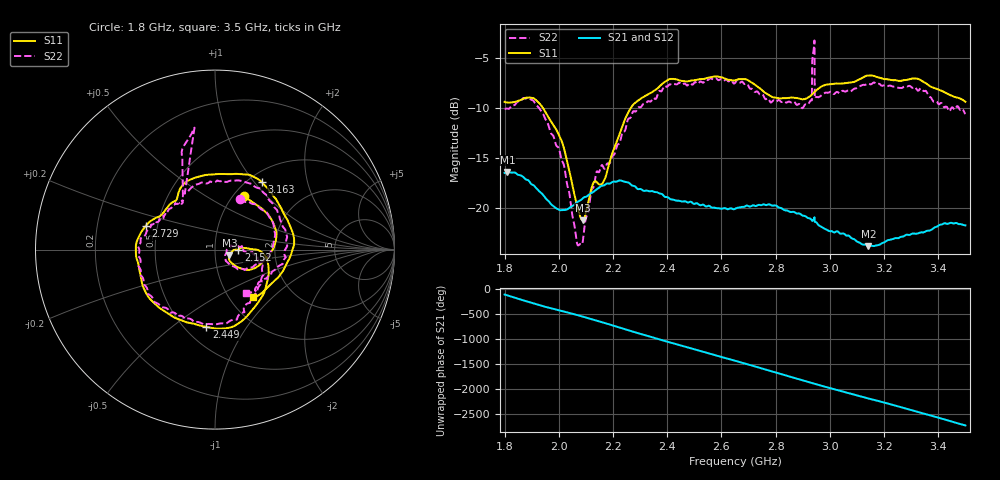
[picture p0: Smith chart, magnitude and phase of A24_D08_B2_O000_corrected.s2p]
! Created with skrf 1.9.0 (http://scikit-rf.org).
# Hz S RI R 50.0
!freq ReS11 ImS11 ReS21 ImS21 ReS12 ImS12 ReS22 ImS22
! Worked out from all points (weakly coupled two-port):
!   1601 points, 1.8 GHz to 3.5 GHz, reference 50 ohm
!   highest |S21| = -16.43 dB at 1.811 GHz (marker M1); lowest = -23.9 dB at 3.142 GHz (marker M2)
!   lowest |S11| = -21.3 dB at 2.089 GHz (marker M3), VSWR 1.19, Z = 58.7 - j3.61 ohm
!   |S11| at or under -10 dB: 1.942 GHz to 2.266 GHz (324 MHz wide, 15.4 % of centre)
!   |S22| runs from -23.8 to -3.2 dB; largest |S21 - S12| = 0.0029
!   S11 on the Smith chart (normalised r, x): 1.8 GHz: 1.12, +0.75; 2.152 GHz: 1.30, -0.00; 2.449 GHz: 0.63, -0.67; 2.729 GHz: 0.43, +0.13; 3.163 GHz: 1.15, +1.10; 3.5 GHz: 1.27, -0.77
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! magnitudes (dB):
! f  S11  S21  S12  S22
! 1.8 GHz  -9.4  -16.5  -16.5  -10.1
! 1.811 GHz  -9.5  -16.4  -16.4  -10.1
! 1.94 GHz  -9.9  -18.7  -18.7  -10.5
! 2.011 GHz  -13.4  -20.2  -20.2  -15.3
! 2.066 GHz  -19.6  -19.5  -19.5  -23.4
! 2.084 GHz  -21.2  -19.2  -19.1  -23.7
! 2.089 GHz  -21.3  -19.0  -19.1  -23.3
! 2.152 GHz  -17.7  -17.9  -17.9  -16.2
! 2.263 GHz  -10.1  -17.6  -17.6  -11.0
! 2.367 GHz  -8.0  -18.5  -18.5  -8.4
! 2.449 GHz  -7.3  -19.3  -19.3  -7.6
! 2.65 GHz  -7.2  -20.1  -20.1  -7.5
! 2.729 GHz  -7.8  -19.8  -19.9  -8.4
! 2.901 GHz  -9.1  -20.8  -20.8  -10.0
! 2.925 GHz  -8.9  -21.1  -21.1  -9.4
! 2.934 GHz  -8.7  -21.3  -21.2  -9.2
! 2.943 GHz  -8.4  -21.0  -21.0  -3.2
! 2.953 GHz  -8.2  -21.6  -21.5  -8.9
! 3.142 GHz  -6.8  -23.9  -23.8  -7.5
! 3.163 GHz  -6.8  -23.8  -23.8  -7.4
! 3.217 GHz  -7.1  -23.2  -23.2  -7.8
! 3.5 GHz  -9.4  -21.8  -21.8  -10.6
